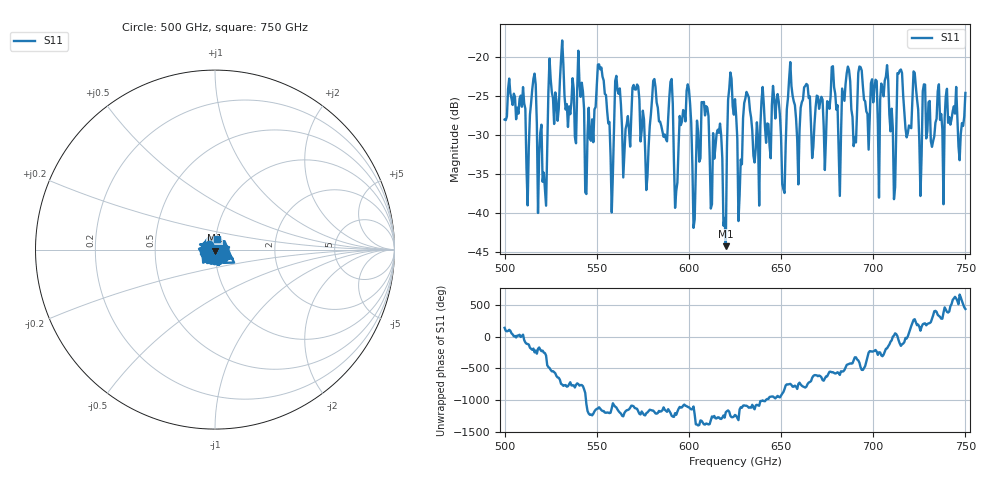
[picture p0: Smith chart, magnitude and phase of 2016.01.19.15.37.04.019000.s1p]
!Created with skrf (http://scikit-rf.org).
# GHz S RI R 50.0
!freq ReS11 ImS11
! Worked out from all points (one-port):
!   401 points, 500 GHz to 750 GHz, reference 50 ohm
!   lowest |S11| = -44.2 dB at 620 GHz (marker M1), VSWR 1.01, Z = 49.8 - j0.567 ohm
!   |S11| at or under -10 dB: start of sweep to end of sweep
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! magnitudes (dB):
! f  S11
! 500 GHz  -28.0
! 513.1 GHz  -31.6
! 515.6 GHz  -22.8
! 521.9 GHz  -36.8
! 525 GHz  -22.8
! 531.2 GHz  -17.8
! 545 GHz  -29.8
! 551.9 GHz  -21.5
! 557.5 GHz  -32.7
! 562.5 GHz  -24.0
! 577.5 GHz  -35.3
! 590 GHz  -23.1
! 593.8 GHz  -36.1
! 600 GHz  -24.1
! 602.5 GHz  -41.9
! 608.1 GHz  -25.7
! 620 GHz  -44.2
! 621.9 GHz  -24.0
! 625 GHz  -25.4
! 627.5 GHz  -37.7
! 631.2 GHz  -24.4
! 636.9 GHz  -28.3
! 646.9 GHz  -27.9
! 651.2 GHz  -36.9
! 656.2 GHz  -24.9
! 687.5 GHz  -23.1
! 718.8 GHz  -29.8
! 750 GHz  -24.6
